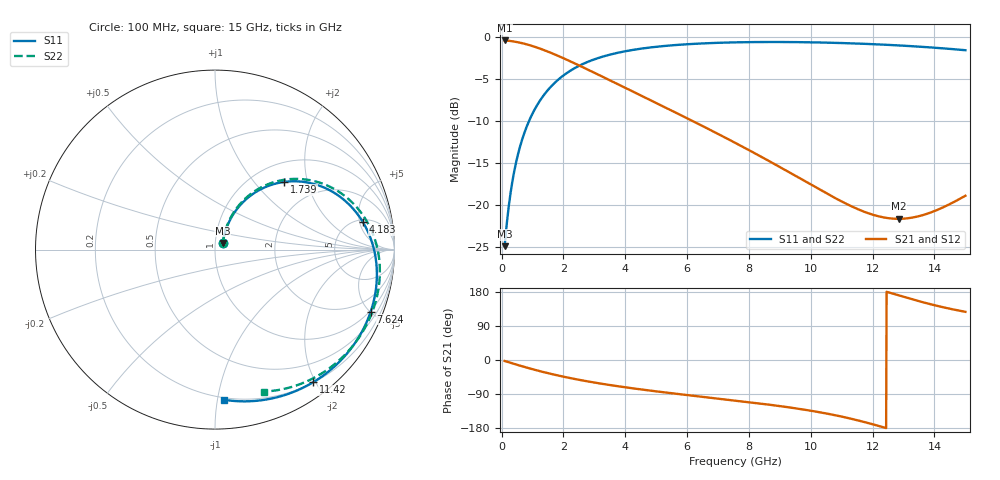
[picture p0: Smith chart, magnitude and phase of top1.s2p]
! TOUCHSTONE file generated by CST MICROWAVE STUDIO
! Date and time: Wed Aug 05 18:28:33 2015
! Project name: top1.cst
# GHZ S MA R 50
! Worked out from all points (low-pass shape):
!   1001 points, 100 MHz to 15 GHz, reference 50 ohm
!   highest |S21| = -0.37 dB at 100 MHz (marker M1); lowest = -21.6 dB at 12.84 GHz (marker M2)
!   |S21| within 3 dB of the highest: start of sweep to 2.52 GHz
!   lowest |S11| = -24.9 dB at 100 MHz (marker M3), VSWR 1.12, Z = 54.4 + j3.95 ohm
!   |S11| at or under -10 dB: start of sweep to 887.5 MHz
!   |S22| runs from -24.9 to -0.5 dB; largest |S21 - S12| = 0.00065
!   S11 on the Smith chart (normalised r, x): 100 MHz: 1.09, +0.08; 1.739 GHz: 1.36, +1.45; 4.183 GHz: 5.41, +5.60; 7.624 GHz: 0.94, -5.05; 11.42 GHz: 0.21, -1.96; 15 GHz: 0.19, -1.04
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0.1  0.05681 39.6  0.958 -2.6  0.9576 -2.6  0.05657 40.0
0.2788  0.1133 59.9  0.9512 -7.1  0.9507 -7.1  0.1132 60.7
0.3682  0.1441 62.3  0.9462 -9.3  0.9457 -9.3  0.1441 63.2
0.5172  0.1953 63.0  0.9358 -13.0  0.9352 -13.0  0.1956 64.0
0.6811  0.2503 61.8  0.9216 -16.9  0.9211 -16.9  0.2508 62.8
0.8897  0.3169 58.9  0.9 -21.8  0.8996 -21.8  0.3177 60.0
1.1281  0.3876 55.0  0.8716 -27.0  0.8713 -27.0  0.3886 56.1
1.739  0.5395 44.4  0.7882 -39.3  0.7885 -39.3  0.5405 45.8
2.5883  0.6877 30.9  0.669 -53.5  0.6696 -53.5  0.6882 33.0
3.3631  0.7758 20.3  0.5707 -64.3  0.5712 -64.3  0.7763 23.2
4.1826  0.8375 10.6  0.4814 -74.1  0.4816 -74.1  0.8385 14.4
5.0766  0.8811 1.3  0.3996 -83.5  0.3996 -83.5  0.8831 5.9
6.2537  0.9151 -9.8  0.3119 -94.8  0.3118 -94.8  0.9181 -4.0
7.5649  0.9335 -21.2  0.2344 -107.1  0.2344 -107.1  0.9372 -14.0
7.6245  0.9339 -21.7  0.2313 -107.6  0.2313 -107.6  0.9378 -14.4
8.801601  0.9381 -31.5  0.1765 -119.5  0.1765 -119.5  0.9431 -22.9
10.0383  0.9336 -41.8  0.1312 -134.4  0.1313 -134.4  0.9398 -31.8
11.424  0.9193 -53.6  0.09619 -157.3  0.09623 -157.3  0.9264 -41.9
12.5266  0.9012 -63.3  0.08339 178.2  0.08354 178.1  0.9082 -50.2
12.8395  0.8949 -66.1  0.08272 170.7  0.08291 170.5  0.9017 -52.7
13.7782  0.8732 -74.8  0.08886 149.1  0.0892 149.0  0.8781 -60.3
15  0.8379 -86.7  0.1136 127.2  0.1137 127.1  0.8368 -70.9
